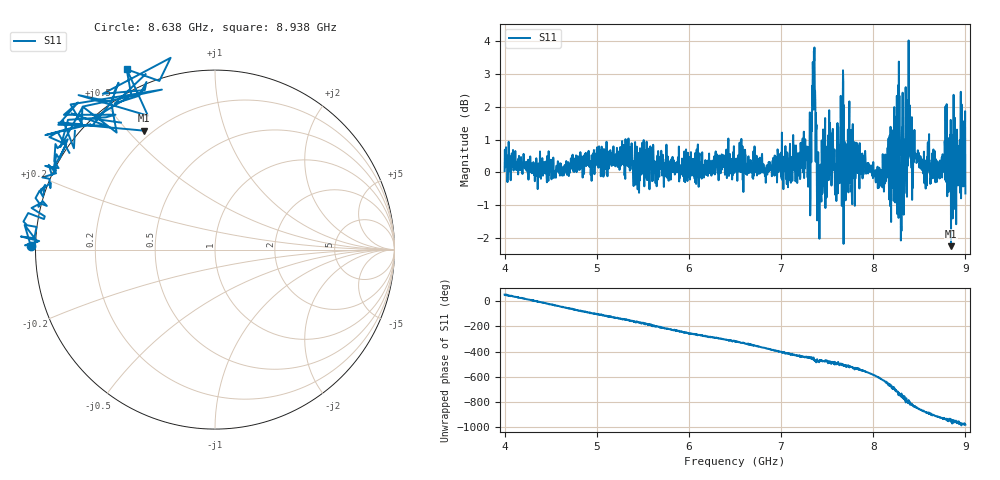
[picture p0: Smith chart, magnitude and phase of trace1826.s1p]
! Created with skrf 1.8.0 (http://scikit-rf.org).
# Hz S RI R 50.0
!freq ReS11 ImS11
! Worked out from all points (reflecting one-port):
!   1601 points, 4 GHz to 9 GHz, reference 50 ohm
!   lowest |S11| = -2.2 dB at 8.844 GHz (marker M1), VSWR 7.80, Z = 8.42 + j27.7 ohm
!   phase of S11 starts at 52 deg and turns -1033 deg over the sweep
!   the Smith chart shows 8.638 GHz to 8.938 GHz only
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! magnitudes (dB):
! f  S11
! 4 GHz  0.0
! 4.625 GHz  -0.1
! 5.25 GHz  0.2
! 5.875 GHz  0.2
! 6.5 GHz  0.3
! 7.125 GHz  0.3
! 7.303 GHz  0.0
! 7.347 GHz  2.9
! 7.356 GHz  3.7
! 7.412 GHz  -0.1
! 7.538 GHz  1.2
! 7.609 GHz  -0.1
! 7.662 GHz  0.8
! 7.703 GHz  -0.3
! 7.75 GHz  -0.3
! 8.075 GHz  0.0
! 8.259 GHz  1.2
! 8.312 GHz  1.4
! 8.334 GHz  0.2
! 8.347 GHz  0.7
! 8.375 GHz  1.6
! 8.425 GHz  0.4
! 8.556 GHz  -0.3
! 8.741 GHz  0.0
! 8.788 GHz  0.2
! 8.844 GHz  -2.2
! 8.972 GHz  0.3
! 9 GHz  -0.6
